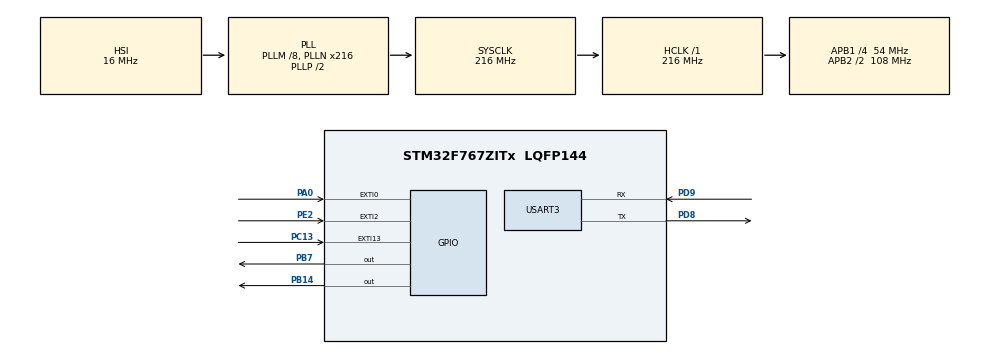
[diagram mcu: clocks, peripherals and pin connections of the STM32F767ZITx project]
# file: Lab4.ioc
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CORTEX_M7.default_mode_Activation=1
Mcu.Family=STM32F7
Mcu.Name=STM32F767ZITx
Mcu.Package=LQFP144
NVIC.EXTI0_IRQn=true\:2\:0\:true\:false\:true\:true\:true\:true
NVIC.EXTI15_10_IRQn=true\:1\:0\:true\:false\:true\:true\:true\:true
NVIC.EXTI2_IRQn=true\:2\:2\:true\:false\:true\:true\:true\:true
NVIC.PriorityGroup=NVIC_PRIORITYGROUP_2
PA0/WKUP.GPIO_ModeDefaultEXTI=GPIO_MODE_IT_FALLING
PA0/WKUP.Signal=GPXTI0
PB14.Signal=GPIO_Output
PB7.Signal=GPIO_Output
PC13.Signal=GPXTI13
PD8.Mode=Asynchronous
PD8.Signal=USART3_TX
PD9.Mode=Asynchronous
PD9.Signal=USART3_RX
PE2.Signal=GPXTI2
ProjectManager.HeapSize=0x200
ProjectManager.StackSize=0x400
ProjectManager.TargetToolchain=STM32CubeIDE
RCC.AHBFreq_Value=216000000
RCC.APB1CLKDivider=RCC_HCLK_DIV4
RCC.APB1Freq_Value=54000000
RCC.APB1TimFreq_Value=108000000
RCC.APB2CLKDivider=RCC_HCLK_DIV2
RCC.APB2Freq_Value=108000000
RCC.APB2TimFreq_Value=216000000
RCC.CortexFreq_Value=216000000
RCC.HCLKFreq_Value=216000000
RCC.HSE_VALUE=25000000
RCC.HSI_VALUE=16000000
RCC.LSE_VALUE=32768
RCC.PLLM=8
RCC.PLLN=216
RCC.SYSCLKFreq_VALUE=216000000
RCC.SYSCLKSource=RCC_SYSCLKSOURCE_PLLCLK
RCC.USBFreq_Value=216000000
RCC.VCOOutputFreq_Value=432000000
USART3.VirtualMode-Asynchronous=VM_ASYNC
board=custom

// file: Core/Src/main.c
/* USER CODE BEGIN Header */
/**
  ******************************************************************************
  * @file           : main.c
  * @brief          : Main program body
  ******************************************************************************
  * @attention
  *
  * Copyright (c) 2025 STMicroelectronics.
  * All rights reserved.
  *
  * This software is licensed under terms that can be found in the LICENSE file
  * in the root directory of this software component.
  * If no LICENSE file comes with this software, it is provided AS-IS.
  *
  ******************************************************************************
  */
/* USER CODE END Header */
#include "main.h"

UART_HandleTypeDef huart3;

void SystemClock_Config(void);
static void MPU_Config(void);
static void MX_GPIO_Init(void);
static void MX_USART3_UART_Init(void);

int main(void)
{

  /* MPU Configuration--------------------------------------------------------*/
  MPU_Config();

  /* MCU Configuration--------------------------------------------------------*/

  /* Reset of all peripherals, Initializes the Flash interface and the Systick. */
  HAL_Init();

  /* Configure the system clock */
  SystemClock_Config();

  /* Initialize all configured peripherals */
  MX_GPIO_Init();
  MX_USART3_UART_Init();

  /* Infinite loop */
  while (1)
  {

    /* USER CODE BEGIN 3 */
	  //1
	  HAL_UART_Transmit(&huart3, (uint8_t*)".",1,100);
	  HAL_Delay(500);

  }
  /* USER CODE END 3 */
}

void SystemClock_Config(void)
{
  RCC_OscInitTypeDef RCC_OscInitStruct = {0};
  RCC_ClkInitTypeDef RCC_ClkInitStruct = {0};

  /** Configure the main internal regulator output voltage
  */
  __HAL_RCC_PWR_CLK_ENABLE();
  __HAL_PWR_VOLTAGESCALING_CONFIG(PWR_REGULATOR_VOLTAGE_SCALE1);

  /** Initializes the RCC Oscillators according to the specified parameters
  * in the RCC_OscInitTypeDef structure.
  */
  RCC_OscInitStruct.OscillatorType = RCC_OSCILLATORTYPE_HSI;
  RCC_OscInitStruct.HSIState = RCC_HSI_ON;
  RCC_OscInitStruct.HSICalibrationValue = RCC_HSICALIBRATION_DEFAULT;
  RCC_OscInitStruct.PLL.PLLState = RCC_PLL_ON;
  RCC_OscInitStruct.PLL.PLLSource = RCC_PLLSOURCE_HSI;
  RCC_OscInitStruct.PLL.PLLM = 8;
  RCC_OscInitStruct.PLL.PLLN = 216;
  RCC_OscInitStruct.PLL.PLLP = RCC_PLLP_DIV2;
  RCC_OscInitStruct.PLL.PLLQ = 2;
  RCC_OscInitStruct.PLL.PLLR = 2;
  if (HAL_RCC_OscConfig(&RCC_OscInitStruct) != HAL_OK)
  {
    Error_Handler();
  }

  /** Activate the Over-Drive mode
  */
  if (HAL_PWREx_EnableOverDrive() != HAL_OK)
  {
    Error_Handler();
  }

  /** Initializes the CPU, AHB and APB buses clocks
  */
  RCC_ClkInitStruct.ClockType = RCC_CLOCKTYPE_HCLK|RCC_CLOCKTYPE_SYSCLK
                              |RCC_CLOCKTYPE_PCLK1|RCC_CLOCKTYPE_PCLK2;
  RCC_ClkInitStruct.SYSCLKSource = RCC_SYSCLKSOURCE_PLLCLK;
  RCC_ClkInitStruct.AHBCLKDivider = RCC_SYSCLK_DIV1;
  RCC_ClkInitStruct.APB1CLKDivider = RCC_HCLK_DIV4;
  RCC_ClkInitStruct.APB2CLKDivider = RCC_HCLK_DIV2;

  if (HAL_RCC_ClockConfig(&RCC_ClkInitStruct, FLASH_LATENCY_7) != HAL_OK)
  {
    Error_Handler();
  }
}

static void MX_USART3_UART_Init(void)
{

  huart3.Instance = USART3;
  huart3.Init.BaudRate = 115200;
  huart3.Init.WordLength = UART_WORDLENGTH_8B;
  huart3.Init.StopBits = UART_STOPBITS_1;
  huart3.Init.Parity = UART_PARITY_NONE;
  huart3.Init.Mode = UART_MODE_TX_RX;
  huart3.Init.HwFlowCtl = UART_HWCONTROL_NONE;
  huart3.Init.OverSampling = UART_OVERSAMPLING_16;
  huart3.Init.OneBitSampling = UART_ONE_BIT_SAMPLE_DISABLE;
  huart3.AdvancedInit.AdvFeatureInit = UART_ADVFEATURE_NO_INIT;
  if (HAL_UART_Init(&huart3) != HAL_OK)
  {
    Error_Handler();
  }

}

static void MX_GPIO_Init(void)
{
  GPIO_InitTypeDef GPIO_InitStruct = {0};

  /* GPIO Ports Clock Enable */
  __HAL_RCC_GPIOE_CLK_ENABLE();
  __HAL_RCC_GPIOC_CLK_ENABLE();
  __HAL_RCC_GPIOA_CLK_ENABLE();
  __HAL_RCC_GPIOB_CLK_ENABLE();
  __HAL_RCC_GPIOD_CLK_ENABLE();

  /*Configure GPIO pin Output Level */
  HAL_GPIO_WritePin(GPIOB, GPIO_PIN_14|GPIO_PIN_7, GPIO_PIN_RESET);

  /*Configure GPIO pin : PE2 */
  GPIO_InitStruct.Pin = GPIO_PIN_2;
  GPIO_InitStruct.Mode = GPIO_MODE_IT_RISING;
  GPIO_InitStruct.Pull = GPIO_NOPULL;
  HAL_GPIO_Init(GPIOE, &GPIO_InitStruct);

  /*Configure GPIO pin : PC13 */
  GPIO_InitStruct.Pin = GPIO_PIN_13;
  GPIO_InitStruct.Mode = GPIO_MODE_IT_RISING;
  GPIO_InitStruct.Pull = GPIO_NOPULL;
  HAL_GPIO_Init(GPIOC, &GPIO_InitStruct);

  /*Configure GPIO pin : PA0 */
  GPIO_InitStruct.Pin = GPIO_PIN_0;
  GPIO_InitStruct.Mode = GPIO_MODE_IT_FALLING;
  GPIO_InitStruct.Pull = GPIO_NOPULL;
  HAL_GPIO_Init(GPIOA, &GPIO_InitStruct);

  /*Configure GPIO pins : PB14 PB7 */
  GPIO_InitStruct.Pin = GPIO_PIN_14|GPIO_PIN_7;
  GPIO_InitStruct.Mode = GPIO_MODE_OUTPUT_PP;
  GPIO_InitStruct.Pull = GPIO_NOPULL;
  GPIO_InitStruct.Speed = GPIO_SPEED_FREQ_LOW;
  HAL_GPIO_Init(GPIOB, &GPIO_InitStruct);

  /* EXTI interrupt init*/
  HAL_NVIC_SetPriority(EXTI0_IRQn, 2, 0);
  HAL_NVIC_EnableIRQ(EXTI0_IRQn);

  HAL_NVIC_SetPriority(EXTI2_IRQn, 2, 2);
  HAL_NVIC_EnableIRQ(EXTI2_IRQn);

  HAL_NVIC_SetPriority(EXTI15_10_IRQn, 1, 0);
  HAL_NVIC_EnableIRQ(EXTI15_10_IRQn);

}

/* USER CODE BEGIN 4 */
void HAL_GPIO_EXTI_Callback(uint16_t GPIO_Pin)
{
	if (GPIO_Pin == GPIO_PIN_13)
	{
		HAL_UART_Transmit(&huart3,(uint8_t*) "---",3,100);
		HAL_Delay(200);
		for(int i=0;i<20;i++)
		{
			HAL_UART_Transmit(&huart3, (uint8_t*)"B",1,100);
			HAL_Delay(200);
		}
	}
	if (GPIO_Pin == GPIO_PIN_0)
		{
			HAL_GPIO_TogglePin(GPIOB,GPIO_PIN_14);
			HAL_UART_Transmit(&huart3,(uint8_t*) "---",3,100);
			HAL_Delay(200);
			for(int i=0;i<20;i++)
			{
				HAL_UART_Transmit(&huart3, (uint8_t*)"A",1,100);
				HAL_Delay(200);
			}
		}
	//4
	if (GPIO_Pin == GPIO_PIN_2)
		{
			HAL_GPIO_TogglePin(GPIOB,GPIO_PIN_7);
			HAL_UART_Transmit(&huart3,(uint8_t*) "---",3,100);
			HAL_Delay(200);
			for(int i=0;i<20;i++)
			{
				HAL_UART_Transmit(&huart3, (uint8_t*)"E",1,100);
				HAL_Delay(200);
			}
		}
}

/* USER CODE END 4 */

 /* MPU Configuration */

void MPU_Config(void)
{
  MPU_Region_InitTypeDef MPU_InitStruct = {0};

  /* Disables the MPU */
  HAL_MPU_Disable();

  /** Initializes and configures the Region and the memory to be protected
  */
  MPU_InitStruct.Enable = MPU_REGION_ENABLE;
  MPU_InitStruct.Number = MPU_REGION_NUMBER0;
  MPU_InitStruct.BaseAddress = 0x0;
  MPU_InitStruct.Size = MPU_REGION_SIZE_4GB;
  MPU_InitStruct.SubRegionDisable = 0x87;
  MPU_InitStruct.TypeExtField = MPU_TEX_LEVEL0;
  MPU_InitStruct.AccessPermission = MPU_REGION_NO_ACCESS;
  MPU_InitStruct.DisableExec = MPU_INSTRUCTION_ACCESS_DISABLE;
  MPU_InitStruct.IsShareable = MPU_ACCESS_SHAREABLE;
  MPU_InitStruct.IsCacheable = MPU_ACCESS_NOT_CACHEABLE;
  MPU_InitStruct.IsBufferable = MPU_ACCESS_NOT_BUFFERABLE;

  HAL_MPU_ConfigRegion(&MPU_InitStruct);
  /* Enables the MPU */
  HAL_MPU_Enable(MPU_PRIVILEGED_DEFAULT);

}

void Error_Handler(void)
{
  __disable_irq();
  while (1)
  {
  }
}
